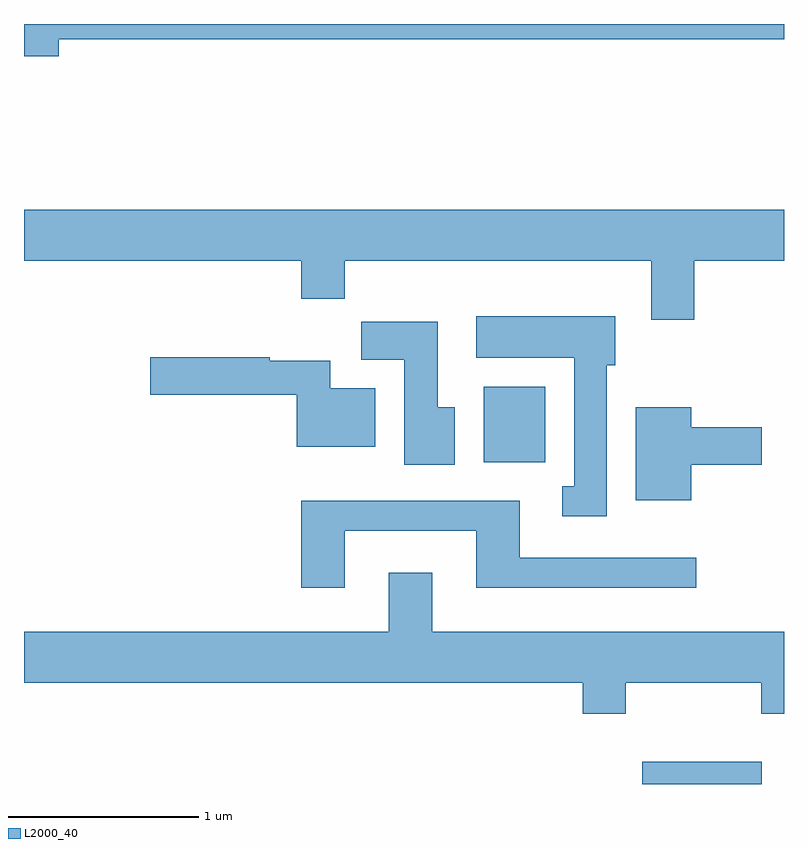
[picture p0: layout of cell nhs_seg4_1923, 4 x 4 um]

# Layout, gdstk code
import gdstk
lib = gdstk.Library(unit=1e-6, precision=1e-09)
def R(c, l, rs):  # rectangles x0, y0, x1, y1
    for r in rs: c.add(gdstk.rectangle(r[:2], r[2:], *l))
def P(c, l, *ps):  # polygons
    for p in ps: c.add(gdstk.Polygon(p, *l))
L2000_40 = (2000, 40)

nhs_seg4_1923 = lib.new_cell('nhs_seg4_1923')
R(nhs_seg4_1923, L2000_40, [(244.866,1291.982,245.494,1292.099), (244.031,1293.676,244.354,1294.074)])
P(nhs_seg4_1923, L2000_40, [(241.794,1295.901),(245.611,1295.901),(245.611,1295.982),(241.611,1295.982),(241.611,1295.811),(241.794,1295.811)],
  [(241.611,1294.736),(243.071,1294.736),(243.071,1294.536),(243.299,1294.536),(243.299,1294.736),(244.911,1294.736),(244.911,1294.426),(245.139,1294.426),(245.139,1294.736),(245.611,1294.736),(245.611,1295.004),(241.611,1295.004)],
  [(244.679,1294.186),(244.724,1294.186),(244.724,1294.444),(243.991,1294.444),(243.991,1294.226),(244.506,1294.226),(244.506,1293.549),(244.443,1293.549),(244.443,1293.391),(244.679,1293.391)],
  [(243.879,1293.964),(243.789,1293.964),(243.789,1294.414),(243.386,1294.414),(243.386,1294.216),(243.611,1294.216),(243.611,1293.661),(243.879,1293.661)],
  [(243.459,1294.064),(243.224,1294.064),(243.224,1294.209),(242.904,1294.209),(242.904,1294.229),(242.276,1294.229),(242.276,1294.031),(243.046,1294.031),(243.046,1293.756),(243.459,1293.756)],
  [(245.124,1293.661),(245.494,1293.661),(245.494,1293.859),(245.124,1293.859),(245.124,1293.964),(244.831,1293.964),(244.831,1293.476),(245.124,1293.476)],
  [(243.299,1293.316),(243.991,1293.316),(243.991,1293.016),(245.148,1293.016),(245.148,1293.174),(244.219,1293.174),(244.219,1293.474),(243.071,1293.474),(243.071,1293.016),(243.299,1293.016)],
  [(244.779,1292.516),(245.491,1292.516),(245.491,1292.351),(245.611,1292.351),(245.611,1292.784),(243.759,1292.784),(243.759,1293.094),(243.531,1293.094),(243.531,1292.784),(241.611,1292.784),(241.611,1292.516),(244.551,1292.516),(244.551,1292.351),(244.779,1292.351)])

lib.write_gds('nhs_seg4_1923.gds')
